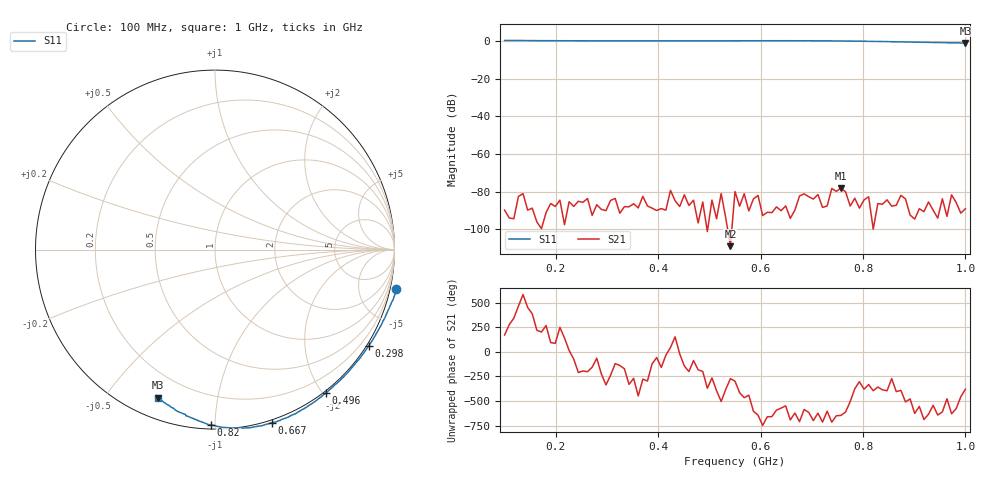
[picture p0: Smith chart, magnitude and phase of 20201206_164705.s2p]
# HZ S RI R 50
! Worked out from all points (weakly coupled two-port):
!   101 points, 100 MHz to 1 GHz, reference 50 ohm
!   highest |S21| = -78.06 dB at 757 MHz (marker M1); lowest = -108.9 dB at 541 MHz (marker M2)
!   lowest |S11| = -1.1 dB at 1 GHz (marker M3), VSWR 16.35, Z = 4.49 - j34.1 ohm
!   |S11| at or under -10 dB: nowhere
!   S12 and S22 are empty: the file has one direction only
!   S11 on the Smith chart (normalised r, x): 100 MHz: -1.37, -9.10; 298 MHz: -0.06, -3.48; 496 MHz: -0.03, -2.04; 667 MHz: -0.02, -1.38; 820 MHz: 0.02, -0.98; 1 GHz: 0.09, -0.68
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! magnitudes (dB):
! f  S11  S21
! 100 MHz  0.3  -89.7
! 253 MHz  0.1  -85.6
! 298 MHz  0.1  -90.0
! 406 MHz  0.1  -88.9
! 415 MHz  0.1  -89.8
! 424 MHz  0.1  -79.3
! 433 MHz  0.1  -84.8
! 496 MHz  0.1  -101.1
! 541 MHz  0.1  -108.9
! 550 MHz  0.1  -79.9
! 559 MHz  0.1  -87.7
! 622 MHz  0.2  -91.1
! 667 MHz  0.1  -89.7
! 703 MHz  0.1  -83.9
! 730 MHz  0.1  -87.6
! 739 MHz  0.1  -78.3
! 748 MHz  0.0  -79.8
! 757 MHz  0.0  -78.1
! 766 MHz  0.0  -80.1
! 820 MHz  -0.2  -99.8
! 856 MHz  -0.4  -87.6
! 1 GHz  -1.1  -89.0
